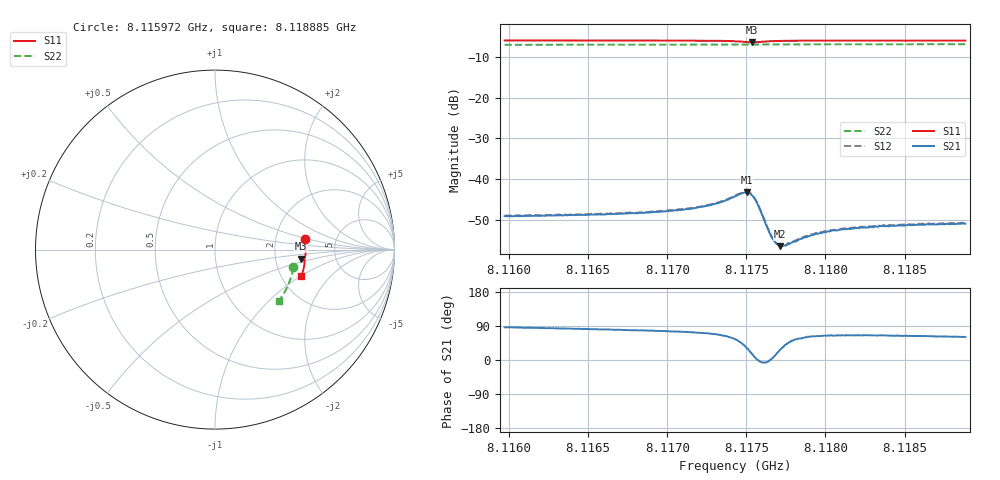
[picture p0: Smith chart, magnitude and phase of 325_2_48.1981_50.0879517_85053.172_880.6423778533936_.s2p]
#  HZ  S  RI  R  50.00
! Rohde & Schwarz Vector Network Analyzer
! Rohde-Schwarz,ZNB20-2Port,1311601062101988,3.16
! Created: UTC 3/20/2024, 11:50:39 AM
! freq[Hz]  re:S11  im:S11  re:S21  im:S21  re:S12  im:S12  re:S22  im:S22
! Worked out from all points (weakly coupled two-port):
!   401 points, 8.115972 GHz to 8.118885 GHz, reference 50 ohm
!   highest |S21| = -43.30 dB at 8.117501 GHz (marker M1); lowest = -56.5 dB at 8.117712 GHz (marker M2)
!   lowest |S11| = -6.4 dB at 8.117538 GHz (marker M3), VSWR 2.85, Z = 140 - j18.5 ohm
!   |S11| at or under -10 dB: nowhere
!   |S22| runs from -7.0 to -6.8 dB; largest |S21 - S12| = 0.00018
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8.1159717e9  0.5037 0.0603  0.000237 0.00349  0.00026 0.00353  0.4372 -0.0995
8.1164597e9  0.5062 0.0236  0.000543 0.00358  0.00057 0.00366  0.4298 -0.1323
8.1169476e9  0.5055 -0.014  0.000907 0.00385  0.000978 0.00394  0.4199 -0.1649
8.1171516e9  0.5039 -0.0306  0.00127 0.00415  0.00131 0.00419  0.4149 -0.1783
8.117239e9  0.5026 -0.0382  0.00153 0.00437  0.0016 0.00443  0.4127 -0.184
8.1173336e9  0.4998 -0.0472  0.0021 0.00473  0.00217 0.00477  0.4101 -0.1902
8.1174283e9  0.4931 -0.0564  0.00353 0.00501  0.00365 0.00506  0.4072 -0.1963
8.1175011e9  0.4816 -0.0575  0.00576 0.00369  0.00591 0.00371  0.4046 -0.2005
8.1175376e9  0.4784 -0.0507  0.00604 0.00158  0.00618 0.0016  0.4035 -0.2023
8.1175521e9  0.4794 -0.0477  0.00568 0.000798  0.00576 0.000767  0.4034 -0.2032
8.117574e9  0.4829 -0.045  0.00478 -4.01e-05  0.00486 -9.09e-05  0.4029 -0.2044
8.1176322e9  0.4927 -0.0468  0.00253 -0.000243  0.00256 -0.000257  0.4016 -0.2081
8.1176614e9  0.4954 -0.0501  0.0019 0.000115  0.00195 6.17e-05  0.4009 -0.21
8.1176832e9  0.4969 -0.0527  0.00162 0.000367  0.00164 0.000336  0.4004 -0.2115
8.1177123e9  0.4979 -0.056  0.00134 0.000665  0.00137 0.000693  0.3994 -0.2134
8.1177633e9  0.4989 -0.0616  0.00112 0.00111  0.00119 0.00113  0.3981 -0.2167
8.1178434e9  0.4991 -0.0693  0.00101 0.00154  0.001 0.00161  0.3954 -0.2219
8.1179163e9  0.4986 -0.0759  0.000949 0.0018  0.00101 0.00181  0.3932 -0.2263
8.1180474e9  0.4971 -0.0867  0.00102 0.00211  0.001 0.00213  0.3889 -0.2345
8.1182149e9  0.4948 -0.0999  0.00104 0.00225  0.00107 0.00233  0.3831 -0.2448
8.1184042e9  0.4917 -0.1139  0.00113 0.00237  0.00119 0.00244  0.3762 -0.2563
8.1188849e9  0.4819 -0.149  0.00139 0.00246  0.00143 0.00256  0.3572 -0.2841
